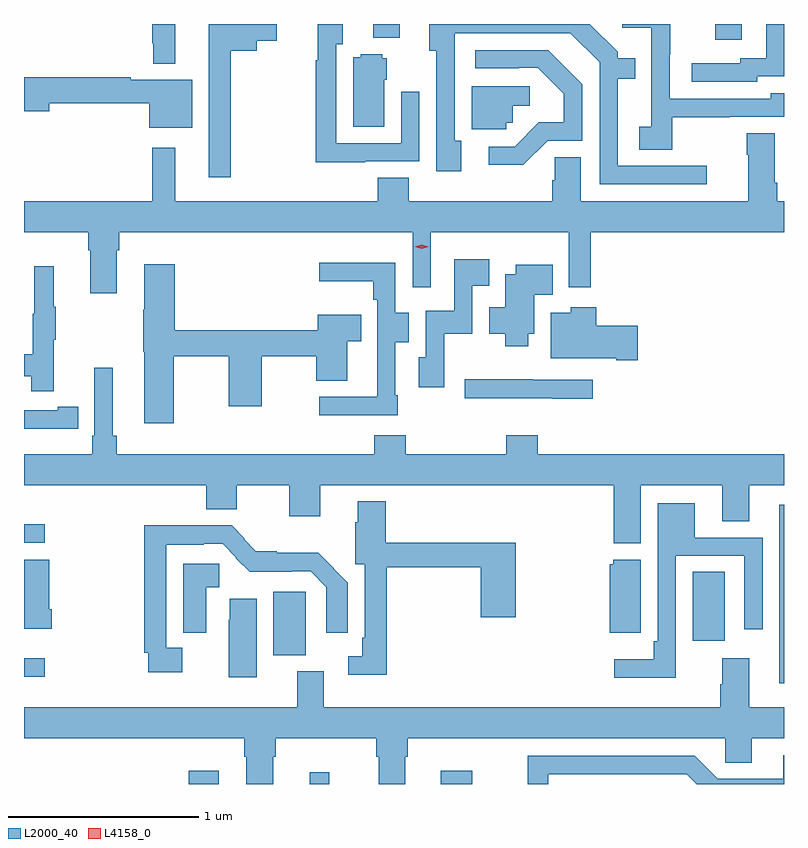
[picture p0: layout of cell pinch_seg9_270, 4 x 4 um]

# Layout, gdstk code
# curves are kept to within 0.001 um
import gdstk
lib = gdstk.Library(unit=1e-6, precision=1e-09)
def R(c, l, rs):  # rectangles x0, y0, x1, y1
    for r in rs: c.add(gdstk.rectangle(r[:2], r[2:], *l))
def P(c, l, *ps):  # polygons
    for p in ps: c.add(gdstk.Polygon(p, *l))
L2000_40 = (2000, 40)
L4158_0 = (4158, 0)

pinch_seg9_270 = lib.new_cell('pinch_seg9_270')
R(pinch_seg9_270, L2000_40, [(410.438,1165.544,410.596,1165.615), (411.074,1165.544,411.176,1165.606), (411.764,1165.544,411.93,1165.615), (413.546,1166.073,413.57,1167.013), (409.57,1166.108,409.678,1166.206), (410.882,1166.222,411.052,1166.556), (413.09,1166.298,413.257,1166.66), (409.57,1166.814,409.678,1166.91), (413.207,1169.46,413.347,1169.544), (411.407,1169.471,411.547,1169.544)])
P(pinch_seg9_270, L2000_40, [(410.365,1169.544),(410.244,1169.544),(410.244,1169.443),(410.25,1169.443),(410.25,1169.336),(410.365,1169.336)],
  [(410.657,1169.402),(410.794,1169.402),(410.794,1169.456),(410.899,1169.456),(410.899,1169.544),(410.543,1169.544),(410.543,1168.737),(410.657,1168.737)],
  [(412.981,1169.053),(413.285,1169.053),(413.285,1169.055),(413.57,1169.055),(413.57,1169.179),(413.499,1169.179),(413.499,1169.151),(412.968,1169.151),(412.968,1169.384),(412.971,1169.384),(412.971,1169.544),(412.719,1169.544),(412.719,1169.525),(412.872,1169.525),(412.872,1169.004),(412.809,1169.004),(412.809,1168.882),(412.981,1168.882)],
  [(411.367,1168.821),(411.651,1168.821),(411.651,1169.188),(411.555,1169.188),(411.555,1168.917),(411.213,1168.917),(411.213,1169.438),(411.247,1169.438),(411.247,1169.544),(411.116,1169.544),(411.116,1169.354),(411.105,1169.354),(411.105,1168.817),(411.367,1168.817)],
  [(413.164,1168.797),(412.696,1168.797),(412.696,1169.256),(412.787,1169.256),(412.787,1169.365),(412.695,1169.365),(412.695,1169.397),(412.548,1169.544),(411.704,1169.544),(411.704,1169.402),(411.741,1169.402),(411.741,1168.77),(411.871,1168.77),(411.871,1168.93),(411.837,1168.93),(411.837,1169.496),(412.446,1169.496),(412.599,1169.343),(412.599,1168.701),(413.164,1168.701)],
  [(413.43,1169.268),(413.57,1169.268),(413.57,1169.544),(413.477,1169.544),(413.477,1169.364),(413.34,1169.364),(413.34,1169.337),(413.085,1169.337),(413.085,1169.241),(413.43,1169.241)],
  [(412.326,1168.929),(412.509,1168.929),(412.509,1169.227),(412.33,1169.406),(411.945,1169.406),(411.945,1169.31),(412.175,1169.31),(412.175,1169.313),(412.275,1169.313),(412.412,1169.176),(412.412,1169.026),(412.279,1169.026),(412.152,1168.899),(412.017,1168.899),(412.017,1168.802),(412.198,1168.802)],
  [(411.466,1169.25),(411.478,1169.25),(411.478,1169.364),(411.456,1169.364),(411.456,1169.386),(411.342,1169.386),(411.342,1169.368),(411.302,1169.368),(411.302,1169.002),(411.466,1169.002)],
  [(410.455,1169.251),(410.132,1169.251),(410.132,1169.264),(409.57,1169.264),(409.57,1169.086),(409.702,1169.086),(409.702,1169.128),(410.228,1169.128),(410.228,1168.997),(410.455,1168.997)],
  [(412.107,1169.025),(412.143,1169.025),(412.143,1169.114),(412.231,1169.114),(412.231,1169.217),(411.926,1169.217),(411.926,1168.989),(412.107,1168.989)],
  [(410.059,1168.352),(410.072,1168.352),(410.072,1168.448),(411.615,1168.448),(411.615,1168.158),(411.711,1168.158),(411.711,1168.448),(412.437,1168.448),(412.437,1168.158),(412.553,1168.158),(412.553,1168.448),(413.57,1168.448),(413.57,1168.612),(413.534,1168.612),(413.534,1168.708),(413.521,1168.708),(413.521,1168.969),(413.374,1168.969),(413.374,1168.856),(413.381,1168.856),(413.381,1168.612),(412.501,1168.612),(412.501,1168.844),(412.363,1168.844),(412.363,1168.722),(412.349,1168.722),(412.349,1168.612),(411.596,1168.612),(411.596,1168.736),(411.431,1168.736),(411.431,1168.612),(410.365,1168.612),(410.365,1168.894),(410.244,1168.894),(410.244,1168.612),(409.57,1168.612),(409.57,1168.448),(409.907,1168.448),(409.907,1168.352),(409.919,1168.352),(409.919,1168.128),(410.059,1168.128)],
  [(411.783,1167.914),(411.93,1167.914),(411.93,1168.166),(412.018,1168.166),(412.018,1168.306),(411.834,1168.306),(411.834,1168.036),(411.684,1168.036),(411.684,1167.789),(411.647,1167.789),(411.647,1167.633),(411.783,1167.633)],
  [(411.538,1167.589),(411.525,1167.589),(411.525,1167.868),(411.595,1167.868),(411.595,1168.023),(411.525,1168.023),(411.525,1168.288),(411.123,1168.288),(411.123,1168.19),(411.409,1168.19),(411.409,1168.094),(411.429,1168.094),(411.429,1167.779),(411.428,1167.779),(411.428,1167.582),(411.123,1167.582),(411.123,1167.486),(411.538,1167.486)],
  [(410.358,1167.796),(410.647,1167.796),(410.647,1167.531),(410.82,1167.531),(410.82,1167.796),(411.109,1167.796),(411.109,1167.667),(411.271,1167.667),(411.271,1167.875),(411.344,1167.875),(411.344,1168.015),(411.116,1168.015),(411.116,1167.932),(410.363,1167.932),(410.363,1168.279),(410.204,1168.279),(410.204,1168.04),(410.197,1168.04),(410.197,1167.819),(410.204,1167.819),(410.204,1167.444),(410.358,1167.444)],
  [(412.225,1167.914),(412.255,1167.914),(412.255,1168.118),(412.352,1168.118),(412.352,1168.276),(412.157,1168.276),(412.157,1168.228),(412.103,1168.228),(412.103,1168.054),(412.019,1168.054),(412.019,1167.914),(412.103,1167.914),(412.103,1167.848),(412.225,1167.848)],
  [(409.727,1167.883),(409.738,1167.883),(409.738,1168.057),(409.727,1168.057),(409.727,1168.27),(409.624,1168.27),(409.624,1168.02),(409.617,1168.02),(409.617,1167.806),(409.57,1167.806),(409.57,1167.69),(409.609,1167.69),(409.609,1167.612),(409.727,1167.612)],
  [(412.801,1167.956),(412.583,1167.956),(412.583,1168.054),(412.448,1168.054),(412.448,1168.024),(412.343,1168.024),(412.343,1167.785),(412.688,1167.785),(412.688,1167.773),(412.801,1167.773)],
  [(412.816,1167.116),(413.246,1167.116),(413.246,1166.926),(413.386,1166.926),(413.386,1167.116),(413.57,1167.116),(413.57,1167.28),(412.274,1167.28),(412.274,1167.379),(412.109,1167.379),(412.109,1167.28),(411.578,1167.28),(411.578,1167.379),(411.413,1167.379),(411.413,1167.28),(410.057,1167.28),(410.057,1167.376),(410.038,1167.376),(410.038,1167.736),(409.941,1167.736),(409.941,1167.376),(409.928,1167.376),(409.928,1167.28),(409.57,1167.28),(409.57,1167.116),(410.528,1167.116),(410.528,1166.99),(410.689,1166.99),(410.689,1167.116),(410.966,1167.116),(410.966,1166.952),(411.13,1166.952),(411.13,1167.116),(412.673,1167.116),(412.673,1166.81),(412.816,1166.81)],
  [(412.564,1167.672),(412.247,1167.672),(412.247,1167.673),(411.891,1167.673),(411.891,1167.575),(412.351,1167.575),(412.351,1167.571),(412.564,1167.571)],
  [(409.748,1167.414),(409.856,1167.414),(409.856,1167.53),(409.748,1167.53),(409.748,1167.51),(409.57,1167.51),(409.57,1167.413),(409.748,1167.413)],
  [(411.479,1166.686),(411.974,1166.686),(411.974,1166.421),(412.157,1166.421),(412.157,1166.815),(411.473,1166.815),(411.473,1167.031),(411.326,1167.031),(411.326,1166.921),(411.314,1166.921),(411.314,1166.7),(411.363,1166.7),(411.363,1166.314),(411.351,1166.314),(411.351,1166.217),(411.276,1166.217),(411.276,1166.12),(411.479,1166.12)],
  [(413.001,1166.745),(413.361,1166.745),(413.361,1166.358),(413.457,1166.358),(413.457,1166.841),(413.101,1166.841),(413.101,1167.022),(412.905,1167.022),(412.905,1166.296),(412.885,1166.296),(412.885,1166.2),(412.677,1166.2),(412.677,1166.102),(413.001,1166.102)],
  [(410.402,1166.26),(410.319,1166.26),(410.319,1166.804),(410.516,1166.804),(410.516,1166.808),(410.616,1166.808),(410.688,1166.736),(410.685,1166.733),(410.759,1166.66),(410.978,1166.66),(410.978,1166.664),(411.078,1166.664),(411.162,1166.58),(411.162,1166.34),(411.274,1166.34),(411.274,1166.604),(411.119,1166.761),(410.899,1166.761),(410.899,1166.769),(410.791,1166.769),(410.729,1166.831),(410.733,1166.835),(410.663,1166.905),(410.203,1166.905),(410.203,1166.236),(410.223,1166.236),(410.223,1166.132),(410.402,1166.132)],
  [(412.816,1166.725),(412.671,1166.725),(412.671,1166.7),(412.652,1166.7),(412.652,1166.339),(412.816,1166.339)],
  [(409.715,1166.464),(409.702,1166.464),(409.702,1166.725),(409.57,1166.725),(409.57,1166.36),(409.715,1166.36)],
  [(410.53,1166.579),(410.597,1166.579),(410.597,1166.702),(410.408,1166.702),(410.408,1166.341),(410.53,1166.341)],
  [(410.794,1166.519),(410.652,1166.519),(410.652,1166.408),(410.648,1166.408),(410.648,1166.106),(410.794,1166.106)],
  [(409.57,1165.784),(410.729,1165.784),(410.729,1165.688),(410.741,1165.688),(410.741,1165.544),(410.881,1165.544),(410.881,1165.688),(410.894,1165.688),(410.894,1165.784),(411.425,1165.784),(411.425,1165.688),(411.437,1165.688),(411.437,1165.544),(411.577,1165.544),(411.577,1165.688),(411.59,1165.688),(411.59,1165.784),(413.262,1165.784),(413.262,1165.657),(413.401,1165.657),(413.401,1165.784),(413.57,1165.784),(413.57,1165.948),(413.386,1165.948),(413.386,1166.206),(413.246,1166.206),(413.246,1166.069),(413.234,1166.069),(413.234,1165.948),(411.148,1165.948),(411.148,1166.137),(411.008,1166.137),(411.008,1165.948),(409.57,1165.948)],
  [(412.329,1165.596),(413.058,1165.596),(413.11,1165.544),(413.57,1165.544),(413.57,1165.695),(413.567,1165.695),(413.567,1165.572),(413.22,1165.572),(413.1,1165.692),(412.221,1165.692),(412.221,1165.544),(412.329,1165.544)])
P(pinch_seg9_270, L4158_0, [(411.663,1168.361),(411.627,1168.371),(411.627,1168.372),(411.627,1168.372),(411.663,1168.381),(411.698,1168.371),(411.698,1168.371),(411.698,1168.371)])

lib.write_gds('pinch_seg9_270.gds')
